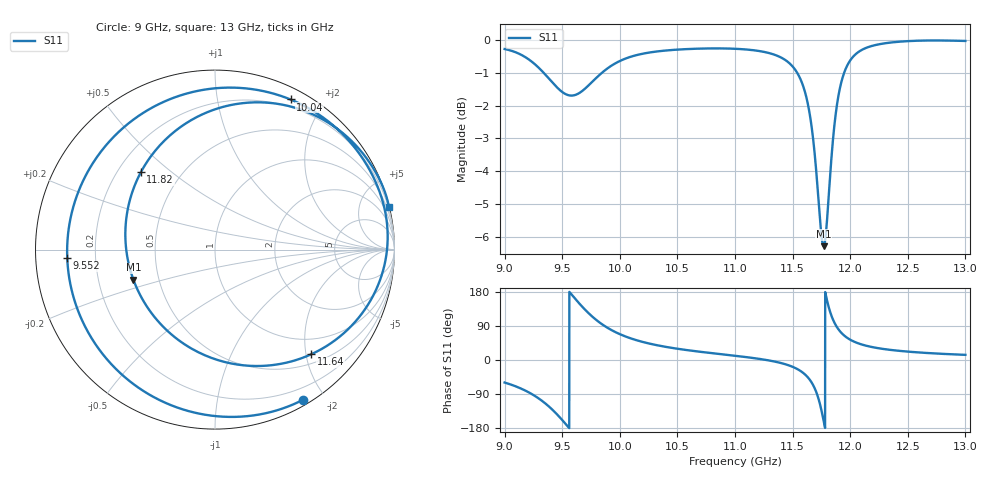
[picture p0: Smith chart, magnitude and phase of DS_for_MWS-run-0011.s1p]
! TOUCHSTONE file generated by CST DESIGN STUDIO
! Date and time: Tue Feb  4 12:52:55 2025
! Project name: C:\Work\MatlabApps\UnitCellOptimizationMatlab\CST\unitcell.cst
! Tree item: Tasks\Sweep1\SPara1\S-Parameters
! Header version: 2024
! Port assignment regex: !\s*Touchstone port\s*([0-9]+)\s*=\s*(CST MWS port|CST DES external port|CST DES block port)\s*(.+)\s* \(\"(.*)\"\)(\s*mode\s*([0-9]+))?.*
! Touchstone port assignment:
! Touchstone port 1 = CST DES external port 1 ("")
# GHz S MA R 50
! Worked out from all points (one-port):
!   4001 points, 9 GHz to 13 GHz, reference 50 ohm
!   lowest |S11| = -6.3 dB at 11.77 GHz (marker M1), VSWR 2.88, Z = 17.8 - j7.82 ohm
!   |S11| at or under -10 dB: nowhere
!   S11 on the Smith chart (normalised r, x): 9 GHz: 0.06, -1.75; 9.552 GHz: 0.10, -0.03; 10.04 GHz: 0.12, +1.62; 11.64 GHz: 0.67, -2.10; 11.82 GHz: 0.29, +0.40; 13 GHz: 0.08, +8.39
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9  0.9699 -59.5
9.149  0.9494 -76.3
9.299  0.907 -102.1
9.4  0.868 -126.9
9.5  0.8338 -158.3
9.552  0.8246 -176.6
9.641  0.8293 151.7
9.759  0.8636 115.1
9.863  0.8976 90.8
10  0.9298 68.2
10.039  0.9363 63.3
10.236  0.9567 44.8
10.5  0.9679 29.7
11  0.9707 11.2
11.305  0.9552 -1.8
11.5  0.9122 -18.0
11.578  0.8641 -30.9
11.637  0.7921 -47.4
11.711  0.6132 -89.2
11.739  0.5294 -118.0
11.769  0.4846 -159.8
11.819  0.5971 133.7
11.851  0.7066 106.4
11.886  0.7989 86.2
12  0.9317 53.6
12.175  0.9789 35.1
12.5  0.9972 22.1
13  0.9979 13.6
